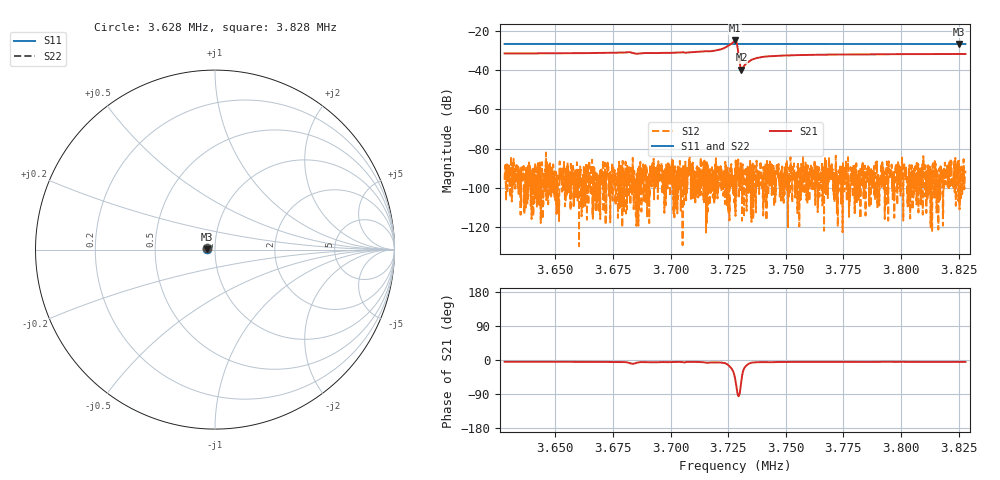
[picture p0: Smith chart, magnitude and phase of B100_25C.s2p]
# Hz S dB R 50.000
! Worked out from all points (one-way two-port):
!   6401 points, 3.628 MHz to 3.828 MHz, reference 50 ohm
!   highest |S21| = -24.71 dB at 3.728 MHz (marker M1); lowest = -39.6 dB at 3.731 MHz (marker M2)
!   lowest |S11| = -26.5 dB at 3.825 MHz (marker M3), VSWR 1.10, Z = 45.5 + j0.199 ohm
!   |S11| at or under -10 dB: start of sweep to end of sweep
!   |S22| runs from -26.7 to -26.6 dB; largest |S21 - S12| = 0.058
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3627969  -26.49 175.6  -31.34 -4.7  -96.04 15.7  -26.62 170.1
3661313  -26.49 175.9  -31.19 -5.0  -99.41 149.3  -26.63 170.4
3681750  -26.49 176.1  -30.69 -7.1  -104.99 -44.0  -26.64 170.6
3685250  -26.50 176.2  -31.50 -7.4  -98.58 113.2  -26.64 170.6
3694656  -26.50 176.2  -31.18 -5.7  -88.78 146.0  -26.64 170.7
3707032  -26.50 176.3  -30.91 -5.0  -92.09 -120.6  -26.65 170.9
3718563  -26.51 176.5  -30.04 -6.2  -92.84 31.6  -26.65 170.9
3722782  -26.50 176.5  -28.85 -7.3  -96.68 71.5  -26.66 171.0
3727406  -26.51 176.5  -25.30 -34.0  -96.88 164.6  -26.66 171.0
3727969  -26.51 176.5  -24.71 -48.0  -103.48 -37.6  -26.65 171.0
3728344  -26.51 176.5  -24.95 -61.2  -93.36 5.9  -26.65 171.0
3728719  -26.51 176.5  -26.08 -76.8  -89.08 44.1  -26.65 171.0
3730125  -26.51 176.5  -37.25 -83.4  -95.85 106.3  -26.66 171.0
3730782  -26.51 176.5  -39.60 -52.7  -90.53 -127.0  -26.66 171.0
3731406  -26.51 176.5  -38.69 -30.7  -93.96 -66.9  -26.66 171.0
3733125  -26.51 176.6  -36.20 -13.5  -94.11 57.1  -26.66 171.0
3735125  -26.51 176.6  -34.65 -7.4  -117.54 154.6  -26.66 171.1
3738906  -26.51 176.6  -33.32 -5.7  -87.60 -8.2  -26.66 171.1
3761313  -26.51 176.8  -32.07 -5.0  -96.95 -111.7  -26.67 171.3
3794656  -26.52 177.1  -31.76 -4.6  -88.04 73.3  -26.69 171.6
3825000  -26.54 177.3  -31.63 -5.1  -87.90 23.5  -26.70 171.9
3827969  -26.54 177.4  -31.63 -5.1  -91.34 82.9  -26.70 171.9
